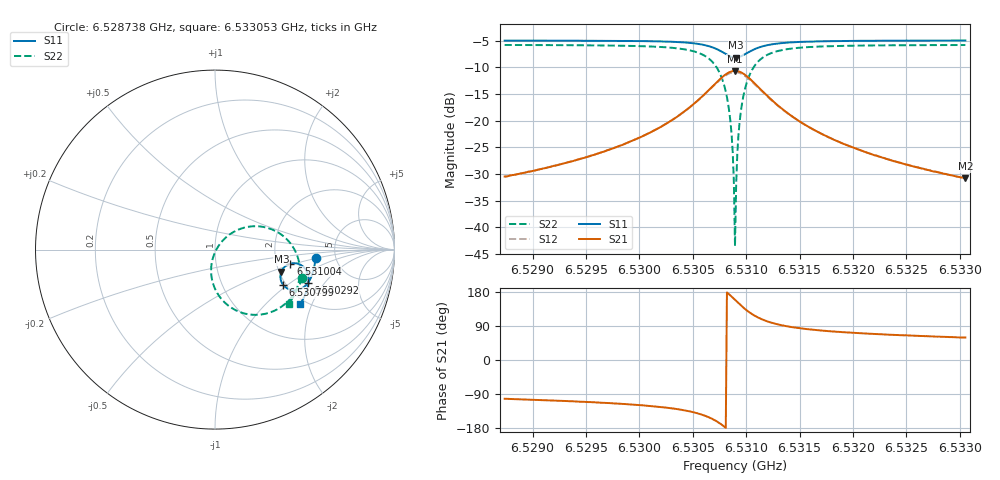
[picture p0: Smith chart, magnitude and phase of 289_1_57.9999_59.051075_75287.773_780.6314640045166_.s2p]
#  HZ  S  RI  R  50.00
! Rohde & Schwarz Vector Network Analyzer
! Rohde-Schwarz,ZNB20-2Port,1311601062101988,3.16
! Created: UTC 3/21/2024, 1:03:12 AM
! freq[Hz]  re:S11  im:S11  re:S21  im:S21  re:S12  im:S12  re:S22  im:S22
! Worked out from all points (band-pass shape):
!   401 points, 6.528738 GHz to 6.533053 GHz, reference 50 ohm
!   highest |S21| = -10.68 dB at 6.530896 GHz (marker M1); lowest = -30.8 dB at 6.533053 GHz (marker M2)
!   |S21| within 3 dB of the highest: 6.53068 GHz to 6.531112 GHz (431.7 kHz wide, 0.00661 % of centre)
!   lowest |S11| = -8.2 dB at 6.530907 GHz (marker M3), VSWR 2.28, Z = 103 - j29.6 ohm
!   |S11| at or under -10 dB: nowhere
!   |S22| runs from -43.6 to -5.8 dB; largest |S21 - S12| = 0.011
!   S11 on the Smith chart (normalised r, x): 6.528738 GHz: 3.50, -0.46; 6.530292 GHz: 2.59, -1.39; 6.530799 GHz: 1.93, -0.93; 6.531004 GHz: 2.38, -0.46; 6.533053 GHz: 1.86, -1.65
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6.5287383e9  0.5601 -0.045  -0.00636 -0.0292  -0.00685 -0.0289  0.4868 -0.1565
6.5294611e9  0.5511 -0.1046  -0.0152 -0.0414  -0.0161 -0.0411  0.4573 -0.2214
6.5301838e9  0.5243 -0.1752  -0.0471 -0.0713  -0.0491 -0.07  0.3795 -0.3112
6.5302917e9  0.5154 -0.1881  -0.0597 -0.0789  -0.0619 -0.0773  0.3532 -0.3289
6.5306369e9  0.449 -0.2267  -0.1616 -0.0949  -0.1637 -0.0884  0.1617 -0.3552
6.530734e9  0.4082 -0.2194  -0.2244 -0.0663  -0.2233 -0.0573  0.057 -0.2975
6.5307987e9  0.3795 -0.1959  -0.2661 -0.0163  -0.261 -0.00689  -0.0049 -0.2064
6.5308418e9  0.3667 -0.1695  -0.2816 0.0343  -0.2735 0.042  -0.0218 -0.12
6.5308634e9  0.3645 -0.154  -0.2823 0.063  -0.2731 0.0693  -0.0179 -0.0729
6.5308742e9  0.3645 -0.1459  -0.2804 0.0775  -0.2709 0.083  -0.0126 -0.0495
6.530885e9  0.3656 -0.1378  -0.2773 0.092  -0.2674 0.0967  -0.00479 -0.0263
6.5308958e9  0.3673 -0.1299  -0.2726 0.1063  -0.2625 0.1099  0.00529 -0.00401
6.5309066e9  0.37 -0.1221  -0.2665 0.1199  -0.2564 0.1226  0.0176 0.0174
6.5309173e9  0.3736 -0.1148  -0.2593 0.133  -0.2491 0.1347  0.0317 0.0371
6.5309281e9  0.3778 -0.1078  -0.2506 0.1449  -0.241 0.1458  0.0478 0.0553
6.5309497e9  0.3882 -0.0959  -0.2307 0.1658  -0.2216 0.1652  0.0838 0.086
6.5310036e9  0.4196 -0.0782  -0.1734 0.1968  -0.1669 0.194  0.1835 0.1268
6.5310791e9  0.4607 -0.0783  -0.1015 0.1991  -0.0981 0.1964  0.3039 0.1172
6.531187e9  0.4965 -0.1001  -0.0395 0.17  -0.0378 0.1684  0.4042 0.0535
6.5316185e9  0.5215 -0.1786  0.0145 0.0824  0.0155 0.0821  0.4732 -0.1309
6.5323412e9  0.5023 -0.2509  0.017 0.0395  0.0176 0.0393  0.4448 -0.2449
6.5330532e9  0.4752 -0.3035  0.0147 0.0248  0.0153 0.0245  0.4097 -0.3053
